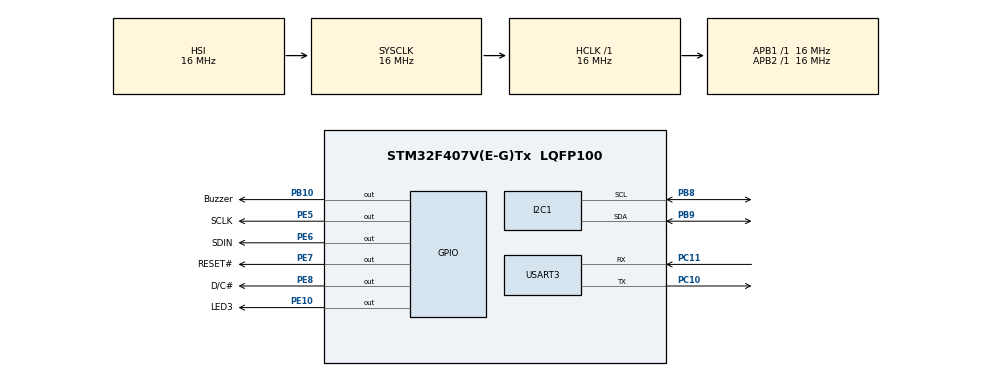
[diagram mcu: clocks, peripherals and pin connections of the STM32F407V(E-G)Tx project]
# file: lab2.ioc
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Mcu.Family=STM32F4
Mcu.Name=STM32F407V(E-G)Tx
Mcu.Package=LQFP100
NVIC.PriorityGroup=NVIC_PRIORITYGROUP_4
PA13.Signal=SYS_JTMS-SWDIO
PA14.Signal=SYS_JTCK-SWCLK
PB10.GPIO_Label=Buzzer
PB10.Signal=GPIO_Output
PB8.Mode=I2C
PB8.Signal=I2C1_SCL
PB9.Mode=I2C
PB9.Signal=I2C1_SDA
PC10.Mode=Asynchronous
PC10.Signal=USART3_TX
PC11.Mode=Asynchronous
PC11.Signal=USART3_RX
PE10.GPIO_Label=LED3
PE10.Signal=GPIO_Output
PE5.GPIO_Label=SCLK
PE5.Signal=GPIO_Output
PE6.GPIO_Label=SDIN
PE6.Signal=GPIO_Output
PE7.GPIO_Label=RESET\#
PE7.Signal=GPIO_Output
PE8.GPIO_Label=D/C\#
PE8.Signal=GPIO_Output
ProjectManager.HeapSize=0x200
ProjectManager.StackSize=0x400
ProjectManager.TargetToolchain=STM32CubeIDE
RCC.AHBFreq_Value=16000000
RCC.APB1Freq_Value=16000000
RCC.APB2Freq_Value=16000000
RCC.CortexFreq_Value=16000000
RCC.HSE_VALUE=25000000
RCC.HSI_VALUE=16000000
RCC.LSE_VALUE=32768
RCC.SYSCLKFreq_VALUE=16000000
RCC.VCOOutputFreq_Value=192000000
USART3.VirtualMode=VM_ASYNC
board=custom

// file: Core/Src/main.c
/* USER CODE BEGIN Header */
/**
  ******************************************************************************
  * @file           : main.c
  * @brief          : Main program body
  ******************************************************************************
  * @attention
  *
  * Copyright (c) 2022 STMicroelectronics.
  * All rights reserved.
  *
  * This software is licensed under terms that can be found in the LICENSE file
  * in the root directory of this software component.
  * If no LICENSE file comes with this software, it is provided AS-IS.
  *
  ******************************************************************************
  */
/* USER CODE END Header */
#include "main.h"

/* USER CODE BEGIN Includes */
#include "ICM20948.h"
#include "stdio.h"
#include "math.h"
/* USER CODE END Includes */

 I2C_HandleTypeDef hi2c1;

UART_HandleTypeDef huart3;

/* USER CODE BEGIN PV */
ICM20948 imu;
/* USER CODE END PV */

void SystemClock_Config(void);
static void MX_GPIO_Init(void);
static void MX_I2C1_Init(void);
static void MX_USART3_UART_Init(void);

int main(void)
{

  /* MCU Configuration--------------------------------------------------------*/

  /* Reset of all peripherals, Initializes the Flash interface and the Systick. */
  HAL_Init();

  /* Configure the system clock */
  SystemClock_Config();

  /* Initialize all configured peripherals */
  MX_GPIO_Init();
  MX_I2C1_Init();
  MX_USART3_UART_Init();
  /* USER CODE BEGIN 2 */
  uint8_t* status = IMU_Initialise(&imu, &hi2c1, &huart3);
  if (status != 0) {
	  // not 0
	  return -1;
  }
//  Gyro_calibrate(&imu);

  char sbuf[3][6];
  /* USER CODE END 2 */

  /* Infinite loop */
  while (1)
  {

    /* USER CODE BEGIN 3 */
	  HAL_GPIO_TogglePin(LED3_GPIO_Port, LED3_Pin);

	  IMU_AccelRead(&imu);
//	  for(uint8_t i = 0; i < 3; i++) {
//		  sprintf(sbuf[i], "%5.2f ", imu.acc[i]);
//		  HAL_UART_Transmit(&huart3, (uint8_t *)sbuf[i], 6, HAL_MAX_DELAY);
//	  }
	  sprintf(sbuf[0], "%5.2f ", atan(imu.acc[0]/imu.acc[2]));
	  HAL_UART_Transmit(&huart3, (uint8_t *)sbuf[0], 6, HAL_MAX_DELAY);
	  sprintf(sbuf[1], "%5.2f ", atan(imu.acc[1]/imu.acc[2]));
	  HAL_UART_Transmit(&huart3, (uint8_t *)sbuf[1], 6, HAL_MAX_DELAY);

	  HAL_UART_Transmit(&huart3, (uint8_t *)"\r\n", 2, HAL_MAX_DELAY);
	  HAL_Delay(50);
  }
  /* USER CODE END 3 */
}

void SystemClock_Config(void)
{
  RCC_OscInitTypeDef RCC_OscInitStruct = {0};
  RCC_ClkInitTypeDef RCC_ClkInitStruct = {0};

  /** Configure the main internal regulator output voltage
  */
  __HAL_RCC_PWR_CLK_ENABLE();
  __HAL_PWR_VOLTAGESCALING_CONFIG(PWR_REGULATOR_VOLTAGE_SCALE1);

  /** Initializes the RCC Oscillators according to the specified parameters
  * in the RCC_OscInitTypeDef structure.
  */
  RCC_OscInitStruct.OscillatorType = RCC_OSCILLATORTYPE_HSI;
  RCC_OscInitStruct.HSIState = RCC_HSI_ON;
  RCC_OscInitStruct.HSICalibrationValue = RCC_HSICALIBRATION_DEFAULT;
  RCC_OscInitStruct.PLL.PLLState = RCC_PLL_NONE;
  if (HAL_RCC_OscConfig(&RCC_OscInitStruct) != HAL_OK)
  {
    Error_Handler();
  }

  /** Initializes the CPU, AHB and APB buses clocks
  */
  RCC_ClkInitStruct.ClockType = RCC_CLOCKTYPE_HCLK|RCC_CLOCKTYPE_SYSCLK
                              |RCC_CLOCKTYPE_PCLK1|RCC_CLOCKTYPE_PCLK2;
  RCC_ClkInitStruct.SYSCLKSource = RCC_SYSCLKSOURCE_HSI;
  RCC_ClkInitStruct.AHBCLKDivider = RCC_SYSCLK_DIV1;
  RCC_ClkInitStruct.APB1CLKDivider = RCC_HCLK_DIV1;
  RCC_ClkInitStruct.APB2CLKDivider = RCC_HCLK_DIV1;

  if (HAL_RCC_ClockConfig(&RCC_ClkInitStruct, FLASH_LATENCY_0) != HAL_OK)
  {
    Error_Handler();
  }
}

static void MX_I2C1_Init(void)
{

  hi2c1.Instance = I2C1;
  hi2c1.Init.ClockSpeed = 100000;
  hi2c1.Init.DutyCycle = I2C_DUTYCYCLE_2;
  hi2c1.Init.OwnAddress1 = 0;
  hi2c1.Init.AddressingMode = I2C_ADDRESSINGMODE_7BIT;
  hi2c1.Init.DualAddressMode = I2C_DUALADDRESS_DISABLE;
  hi2c1.Init.OwnAddress2 = 0;
  hi2c1.Init.GeneralCallMode = I2C_GENERALCALL_DISABLE;
  hi2c1.Init.NoStretchMode = I2C_NOSTRETCH_DISABLE;
  if (HAL_I2C_Init(&hi2c1) != HAL_OK)
  {
    Error_Handler();
  }

}

static void MX_USART3_UART_Init(void)
{

  huart3.Instance = USART3;
  huart3.Init.BaudRate = 115200;
  huart3.Init.WordLength = UART_WORDLENGTH_8B;
  huart3.Init.StopBits = UART_STOPBITS_1;
  huart3.Init.Parity = UART_PARITY_NONE;
  huart3.Init.Mode = UART_MODE_TX_RX;
  huart3.Init.HwFlowCtl = UART_HWCONTROL_NONE;
  huart3.Init.OverSampling = UART_OVERSAMPLING_16;
  if (HAL_UART_Init(&huart3) != HAL_OK)
  {
    Error_Handler();
  }

}

static void MX_GPIO_Init(void)
{
  GPIO_InitTypeDef GPIO_InitStruct = {0};

  /* GPIO Ports Clock Enable */
  __HAL_RCC_GPIOE_CLK_ENABLE();
  __HAL_RCC_GPIOC_CLK_ENABLE();
  __HAL_RCC_GPIOB_CLK_ENABLE();

  /*Configure GPIO pin Output Level */
  HAL_GPIO_WritePin(LED3_GPIO_Port, LED3_Pin, GPIO_PIN_RESET);

  /*Configure GPIO pin : LED3_Pin */
  GPIO_InitStruct.Pin = LED3_Pin;
  GPIO_InitStruct.Mode = GPIO_MODE_OUTPUT_PP;
  GPIO_InitStruct.Pull = GPIO_NOPULL;
  GPIO_InitStruct.Speed = GPIO_SPEED_FREQ_LOW;
  HAL_GPIO_Init(LED3_GPIO_Port, &GPIO_InitStruct);

}

void Error_Handler(void)
{
  __disable_irq();
  while (1)
  {
  }
}
